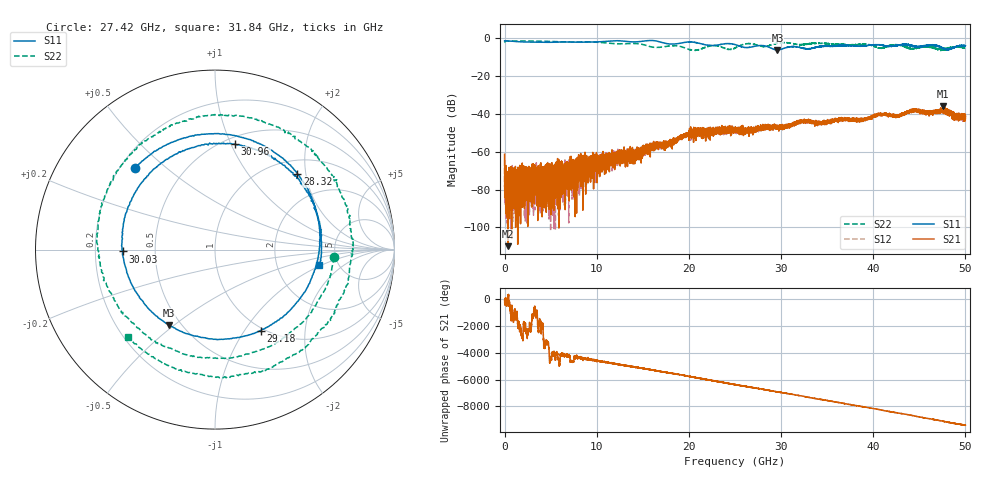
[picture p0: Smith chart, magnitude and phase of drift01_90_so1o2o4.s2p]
!Created with skrf (http://scikit-rf.org).
# Hz S RI R 50.0
!freq ReS11 ImS11 ReS21 ImS21 ReS12 ImS12 ReS22 ImS22
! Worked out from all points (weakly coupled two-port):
!   10001 points, 300 kHz to 50 GHz, reference 50 ohm
!   highest |S21| = -35.98 dB at 47.55 GHz (marker M1); lowest = -109.9 dB at 395.3 MHz (marker M2)
!   lowest |S11| = -6.2 dB at 29.61 GHz (marker M3), VSWR 2.93, Z = 21.7 - j24 ohm
!   |S11| at or under -10 dB: nowhere
!   |S22| runs from -6.6 to -1.4 dB; largest |S21 - S12| = 0.0047
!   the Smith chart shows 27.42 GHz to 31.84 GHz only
!   S11 on the Smith chart (normalised r, x): 27.42 GHz: 0.26, +0.39; 28.32 GHz: 1.30, +1.79; 29.18 GHz: 0.96, -1.19; 30.03 GHz: 0.32, -0.01; 30.96 GHz: 0.57, +1.04; 31.84 GHz: 3.58, -0.96
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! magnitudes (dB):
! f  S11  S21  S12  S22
! 300 kHz  -1.3  -61.3  -64.4  -2.1
! 255.3 MHz  -1.4  -75.9  -70.8  -1.4
! 395.3 MHz  -1.4  -109.9  -93.2  -1.4
! 5.405 GHz  -2.0  -68.9  -69.9  -1.7
! 8.335 GHz  -2.0  -69.1  -71.9  -1.8
! 14.05 GHz  -1.9  -62.8  -61.6  -2.7
! 16.67 GHz  -1.6  -58.8  -56.7  -4.8
! 18.62 GHz  -2.9  -55.4  -53.8  -3.9
! 20.31 GHz  -1.9  -49.4  -50.1  -6.2
! 22.62 GHz  -3.8  -49.9  -49.2  -3.8
! 25 GHz  -3.3  -47.8  -49.1  -5.1
! 27.42 GHz  -3.9  -49.2  -48.1  -3.6
! 28.32 GHz  -4.1  -46.6  -46.5  -4.2
! 29.18 GHz  -5.7  -45.5  -46.8  -3.1
! 29.61 GHz  -6.2  -46.5  -46.2  -2.5
! 30.03 GHz  -5.8  -47.4  -46.9  -2.2
! 30.96 GHz  -4.5  -45.4  -46.0  -2.4
! 31.84 GHz  -4.6  -45.4  -44.1  -3.3
! 33.34 GHz  -5.3  -44.2  -44.6  -2.6
! 41.67 GHz  -4.2  -40.5  -40.4  -4.3
! 47.55 GHz  -5.0  -36.0  -38.3  -5.6
! 50 GHz  -3.9  -42.4  -41.0  -5.3
